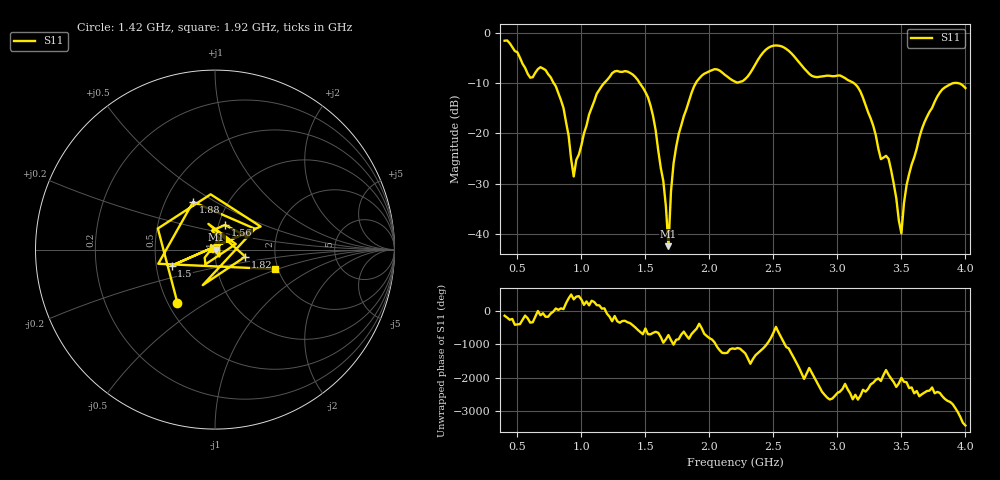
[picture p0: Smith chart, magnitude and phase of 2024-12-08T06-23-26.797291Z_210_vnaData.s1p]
!Created with skrf (http://scikit-rf.org).
# Hz S RI R 50.0
!freq ReS11 ImS11
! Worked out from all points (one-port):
!   181 points, 400 MHz to 4 GHz, reference 50 ohm
!   lowest |S11| = -42.4 dB at 1.68 GHz (marker M1), VSWR 1.02, Z = 50.8 + j0.0101 ohm
!   |S11| at or under -10 dB: 783.3 MHz to 1.178 GHz (394.8 MHz wide, 40.3 % of centre); 1.455 GHz to 1.895 GHz (439.5 MHz wide, 26.2 % of centre); 3.127 GHz to 3.914 GHz (786.7 MHz wide, 22.3 % of centre) (the widest 3 of 4)
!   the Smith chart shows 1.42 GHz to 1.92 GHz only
!   S11 on the Smith chart (normalised r, x): 1.42 GHz: 0.56, -0.38; 1.5 GHz: 0.60, -0.12; 1.56 GHz: 1.08, +0.30; 1.82 GHz: 1.40, -0.11; 1.88 GHz: 0.69, +0.40; 1.92 GHz: 1.92, -0.48
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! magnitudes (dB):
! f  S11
! 400 MHz  -1.6
! 600 MHz  -8.9
! 720 MHz  -7.4
! 860 MHz  -15.0
! 940 MHz  -28.6
! 1.12 GHz  -12.1
! 1.3 GHz  -7.8
! 1.42 GHz  -8.8
! 1.5 GHz  -11.8
! 1.56 GHz  -16.6
! 1.64 GHz  -29.5
! 1.68 GHz  -42.4
! 1.7 GHz  -31.5
! 1.76 GHz  -20.2
! 1.82 GHz  -15.2
! 1.88 GHz  -10.7
! 1.92 GHz  -9.1
! 2.2 GHz  -9.7
! 2.48 GHz  -2.7
! 2.66 GHz  -4.6
! 3.1 GHz  -9.6
! 3.2 GHz  -12.9
! 3.34 GHz  -25.1
! 3.4 GHz  -25.1
! 3.5 GHz  -39.9
! 3.56 GHz  -28.1
! 3.8 GHz  -11.9
! 4 GHz  -11.0
